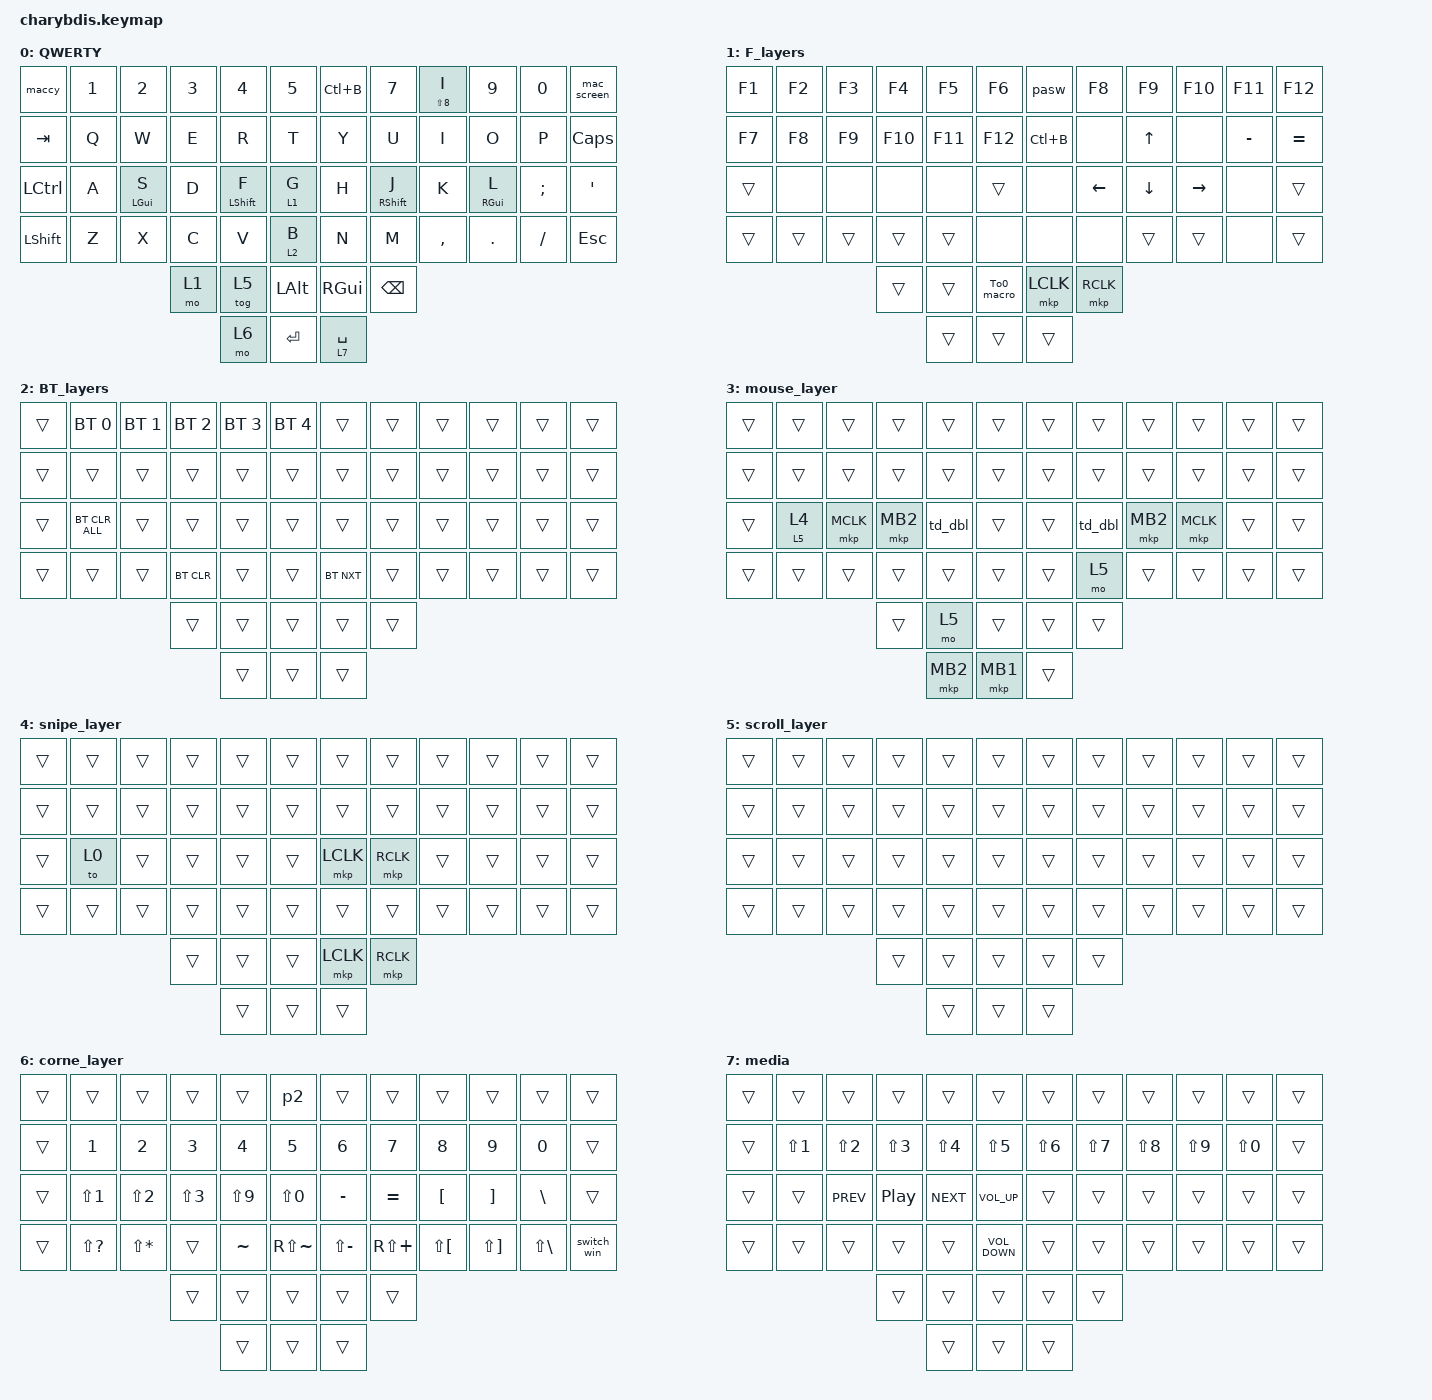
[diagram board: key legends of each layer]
#include <behaviors.dtsi>
#include <dt-bindings/zmk/bt.h>
#include <dt-bindings/zmk/keys.h>
#include <dt-bindings/zmk/pointing.h>
#include <dt-bindings/zmk/rgb.h>

&lt {
    tapping-term-ms = <200>;
    flavor = "balanced";
    quick-tap-ms = <150>;
};

/ {
    macros {
        To1_macro: To1_macro {
            compatible = "zmk,behavior-macro";
            label = "To1_macro";
            #binding-cells = <0>;
            bindings = <&rgb_ug RGB_EFF &rgb_ug RGB_COLOR_HSB(128,100,50) &to 1>;
        };

        To0_macro: To0_macro {
            compatible = "zmk,behavior-macro";
            label = "To0_macro";
            #binding-cells = <0>;
            bindings = <&rgb_ug RGB_EFR &to 0>;
        };

        To2_macro: To2_macro {
            compatible = "zmk,behavior-macro";
            label = "To2_macro";
            #binding-cells = <0>;
            bindings =
                <&to 2>,
                <&macro_wait_time 30>,
                <&rgb_ug RGB_COLOR_HSB(250,100,50)>;
        };

        mac_screen: macos_screenshot {
            compatible = "zmk,behavior-macro";
            #binding-cells = <0>;
            bindings = <&kt LS(RIGHT_GUI) &kp NUMBER_4 &kt LS(RGUI)>;
            label = "MACOS_SCREENSHOT";
        };

        maccy: maccy {
            compatible = "zmk,behavior-macro";
            #binding-cells = <0>;
            bindings = <&kt LS(RIGHT_GUI) &kp C &kt LS(RIGHT_GUI)>;
            label = "MACCY";
        };

        p2: p2 {
            compatible = "zmk,behavior-macro";
            #binding-cells = <0>;
            bindings = <&kp N1 &kp N2 &kp N3 &kp N4 &kp N5 &kp N6 &kp LS(A) &kp A>;
            label = "P2";
        };

        switch_win: switch_win {
            compatible = "zmk,behavior-macro";
            #binding-cells = <0>;
            bindings = <&kt LG(TILDE) &kt LG(TILDE)>;
            label = "SWITCH_WIN";
        };

        pasw: pasw {
            compatible = "zmk,behavior-macro";
            #binding-cells = <0>;
            bindings = <&kp N4 &kp E &kp R &kp T &kp N1 &kp N9 &kp N8 &kp N6>;
            label = "PASW";
        };

        dbl_click: dbl_click {
            compatible = "zmk,behavior-macro";
            #binding-cells = <0>;
            wait-ms = <20>;
            tap-ms = <20>;
            bindings = <&mkp MB1 &mkp MB1>;
        };
    };

    behaviors {
        td_dbl: td_double_click {
            compatible = "zmk,behavior-tap-dance";
            #binding-cells = <0>;
            tapping-term-ms = <300>;
            bindings = <&mkp MB1>, <&dbl_click>;
        };

        th: th {
            compatible = "zmk,behavior-hold-tap";
            label = "Tap-Hold-250";
            bindings = <&kp>, <&kp>;

            #binding-cells = <2>;
            flavor = "balanced";
            tapping-term-ms = <250>;
        };

        // A в mouse_layer: удержание = скролл (слой 5), тап = snipe (слой 4)

        scroll_snipe: scroll_snipe {
            compatible = "zmk,behavior-hold-tap";
            label = "scroll_snipe";
            #binding-cells = <2>;
            flavor = "hold-preferred";
            tapping-term-ms = <200>;
            bindings = <&mo>, <&to>;
        };
    };

    combos {
        compatible = "zmk,combos";

        left_parentsies {
            bindings = <&kp LEFT_PARENTHESIS>;
            key-positions = <27 28>;
        };

        Right_parenthesistt {
            bindings = <&kp RIGHT_PARENTHESIS>;
            key-positions = <27 29>;
        };

        d_left {
            bindings = <&kp LEFT>;
            key-positions = <31 32>;
        };

        d_up {
            bindings = <&kp UP>;
            key-positions = <20 21>;
        };

        d_down {
            bindings = <&kp DOWN>;
            key-positions = <33 32>;
        };

        d_right {
            bindings = <&kp RIGHT>;
            key-positions = <33 34>;
        };
    };

    keymap {
        compatible = "zmk,keymap";

        QWERTY {
            bindings = <
&maccy            &kp N1  &kp N2          &kp N3  &kp N4            &kp N5          &kp LC(B)    &kp N7             &th LS(N8) I  &kp N9           &kp N0    &mac_screen
&kp TAB           &kp Q   &kp W           &kp E   &kp R             &kp T           &kp Y        &kp U              &kp I         &kp O            &kp P     &kp CAPSLOCK
&kp LEFT_CONTROL  &kp A   &th LEFT_GUI S  &kp D   &th LEFT_SHIFT F  &lt 1 G         &kp H        &th RIGHT_SHIFT J  &kp K         &th RIGHT_GUI L  &kp SEMI  &kp SQT
&kp LEFT_SHIFT    &kp Z   &kp X           &kp C   &kp V             &lt 2 B         &kp N        &kp M              &kp COMMA     &kp DOT          &kp FSLH  &kp ESC
                                          &mo 1   &tog 5            &kp LEFT_ALT    &kp RGUI     &kp BACKSPACE
                                                  &mo 6             &kp ENTER       &lt 7 SPACE
            >;
        };

        F_layers {
            bindings = <
&kp F1  &kp F2  &kp F3  &kp F4   &kp F5   &kp F6        &pasw      &kp F8     &kp F9    &kp F10    &kp F11    &kp F12
&kp F7  &kp F8  &kp F9  &kp F10  &kp F11  &kp F12       &kp LC(B)  &none      &kp UP    &none      &kp MINUS  &kp EQUAL
&trans  &none   &none   &none    &none    &trans        &none      &kp LEFT   &kp DOWN  &kp RIGHT  &none      &trans
&trans  &trans  &trans  &trans   &trans   &none         &none      &none      &trans    &trans     &none      &trans
                        &trans   &trans   &To0_macro    &mkp LCLK  &mkp RCLK
                                 &trans   &trans        &trans
            >;
        };

        BT_layers {
            bindings = <
&trans  &bt BT_SEL 0    &bt BT_SEL 1  &bt BT_SEL 2  &bt BT_SEL 3  &bt BT_SEL 4    &trans      &trans  &trans  &trans  &trans  &trans
&trans  &trans          &trans        &trans        &trans        &trans          &trans      &trans  &trans  &trans  &trans  &trans
&trans  &bt BT_CLR_ALL  &trans        &trans        &trans        &trans          &trans      &trans  &trans  &trans  &trans  &trans
&trans  &trans          &trans        &bt BT_CLR    &trans        &trans          &bt BT_NXT  &trans  &trans  &trans  &trans  &trans
                                      &trans        &trans        &trans          &trans      &trans
                                                    &trans        &trans          &trans
            >;
        };

        // Слой 3: auto mouse layer
        // Активируется автоматически при движении трекбола
        // ЛКМ = F, ПКМ = D, СКМ = S (home row левой руки)
        // G  = drag toggle: нажал → ЛКМ зажата, нажал снова → отпущена

        mouse_layer {
            bindings = <
&trans  &trans             &trans     &trans    &trans    &trans      &trans  &trans   &trans    &trans     &trans  &trans
&trans  &trans             &trans     &trans    &trans    &trans      &trans  &trans   &trans    &trans     &trans  &trans
&trans  &scroll_snipe 5 4  &mkp MCLK  &mkp MB2  &td_dbl   &trans      &trans  &td_dbl  &mkp MB2  &mkp MCLK  &trans  &trans
&trans  &trans             &trans     &trans    &trans    &trans      &trans  &mo 5    &trans    &trans     &trans  &trans
                                      &trans    &mo 5     &trans      &trans  &trans
                                                &mkp MB2  &mkp MB1    &trans
            >;
        };

        snipe_layer {
            bindings = <
&trans  &trans  &trans  &trans  &trans  &trans    &trans     &trans     &trans  &trans  &trans  &trans
&trans  &trans  &trans  &trans  &trans  &trans    &trans     &trans     &trans  &trans  &trans  &trans
&trans  &to 0   &trans  &trans  &trans  &trans    &mkp LCLK  &mkp RCLK  &trans  &trans  &trans  &trans
&trans  &trans  &trans  &trans  &trans  &trans    &trans     &trans     &trans  &trans  &trans  &trans
                        &trans  &trans  &trans    &mkp LCLK  &mkp RCLK
                                &trans  &trans    &trans
            >;
        };

        scroll_layer {
            bindings = <
&trans  &trans  &trans  &trans  &trans  &trans    &trans  &trans  &trans  &trans  &trans  &trans
&trans  &trans  &trans  &trans  &trans  &trans    &trans  &trans  &trans  &trans  &trans  &trans
&trans  &trans  &trans  &trans  &trans  &trans    &trans  &trans  &trans  &trans  &trans  &trans
&trans  &trans  &trans  &trans  &trans  &trans    &trans  &trans  &trans  &trans  &trans  &trans
                        &trans  &trans  &trans    &trans  &trans
                                &trans  &trans    &trans
            >;
        };

        corne_layer {
            bindings = <
&trans  &trans            &trans            &trans            &trans        &p2              &trans         &trans        &trans        &trans        &trans             &trans
&trans  &kp NUMBER_1      &kp NUMBER_2      &kp NUMBER_3      &kp NUMBER_4  &kp N5           &kp NUMBER_6   &kp N7        &kp N8        &kp N9        &kp N0             &trans
&trans  &kp LS(NUMBER_1)  &kp LS(NUMBER_2)  &kp LS(NUMBER_3)  &kp LS(N9)    &kp LS(N0)       &kp MINUS      &kp EQUAL     &kp LBKT      &kp RBKT      &kp BACKSLASH      &trans
&trans  &kp LS(QUESTION)  &kp LS(ASTERISK)  &trans            &kp TILDE     &kp RS(TILDE)    &kp LS(MINUS)  &kp RS(PLUS)  &kp LS(LBKT)  &kp LS(RBKT)  &kp LS(BACKSLASH)  &switch_win
                                            &trans            &trans        &trans           &trans         &trans
                                                              &trans        &trans           &trans
            >;
        };

        media {
            bindings = <
&trans  &trans            &trans            &trans            &trans            &trans               &trans            &trans      &trans      &trans      &trans      &trans
&trans  &kp LS(NUMBER_1)  &kp LS(NUMBER_2)  &kp LS(NUMBER_3)  &kp LS(NUMBER_4)  &kp LS(N5)           &kp LS(NUMBER_6)  &kp LS(N7)  &kp LS(N8)  &kp LS(N9)  &kp LS(N0)  &trans
&trans  &trans            &kp C_PREV        &kp C_PLAY_PAUSE  &kp C_NEXT        &kp C_VOLUME_UP      &trans            &trans      &trans      &trans      &trans      &trans
&trans  &trans            &trans            &trans            &trans            &kp C_VOLUME_DOWN    &trans            &trans      &trans      &trans      &trans      &trans
                                            &trans            &trans            &trans               &trans            &trans
                                                              &trans            &trans               &trans
            >;
        };
    };
};
